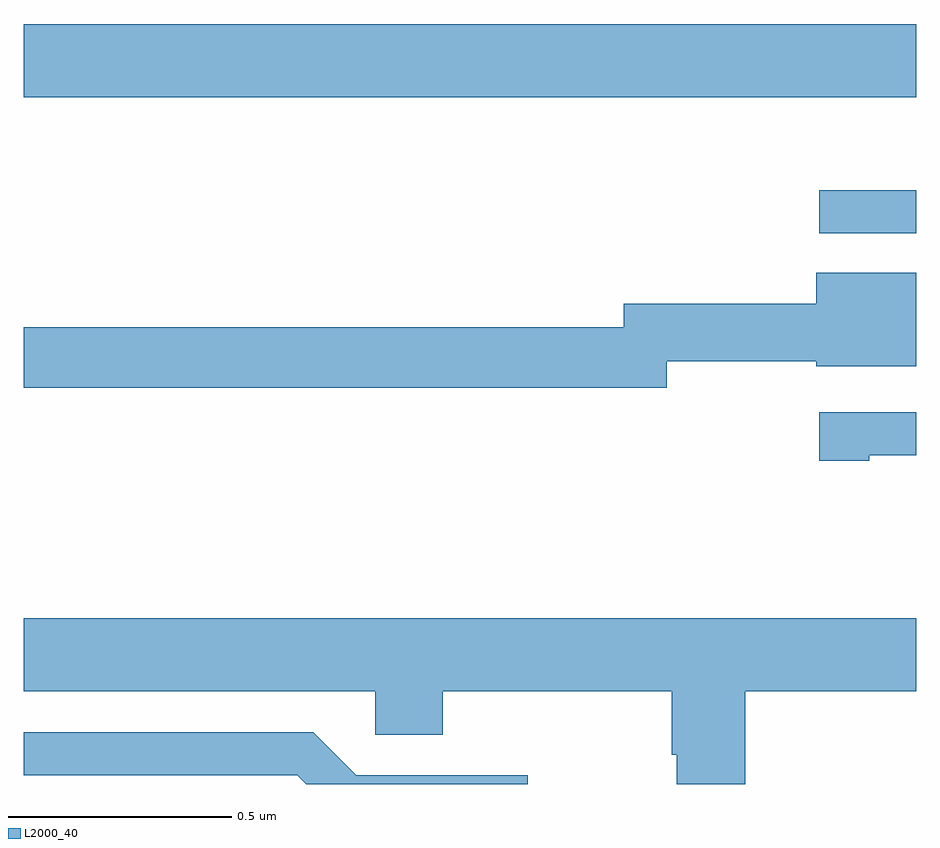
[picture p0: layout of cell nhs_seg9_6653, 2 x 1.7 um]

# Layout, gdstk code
import gdstk
lib = gdstk.Library(unit=1e-6, precision=1e-09)
def R(c, l, rs):  # rectangles x0, y0, x1, y1
    for r in rs: c.add(gdstk.rectangle(r[:2], r[2:], *l))
def P(c, l, *ps):  # polygons
    for p in ps: c.add(gdstk.Polygon(p, *l))
L2000_40 = (2000, 40)

nhs_seg9_6653 = lib.new_cell('nhs_seg9_6653')
R(nhs_seg9_6653, L2000_40, [(195.783,1242.735,196,1242.831), (194,1243.04,196,1243.204)])
P(nhs_seg9_6653, L2000_40, [(195.441,1242.448),(195.776,1242.448),(195.776,1242.437),(196,1242.437),(196,1242.646),(195.776,1242.646),(195.776,1242.577),(195.345,1242.577),(195.345,1242.524),(194,1242.524),(194,1242.388),(195.441,1242.388)],
  [(195.895,1242.237),(196,1242.237),(196,1242.333),(195.783,1242.333),(195.783,1242.225),(195.895,1242.225)],
  [(195.617,1241.708),(196,1241.708),(196,1241.872),(194,1241.872),(194,1241.708),(194.787,1241.708),(194.787,1241.61),(194.939,1241.61),(194.939,1241.708),(195.452,1241.708),(195.452,1241.566),(195.464,1241.566),(195.464,1241.5),(195.617,1241.5)],
  [(195.129,1241.52),(194.745,1241.52),(194.649,1241.616),(194,1241.616),(194,1241.52),(194.613,1241.52),(194.633,1241.5),(195.129,1241.5)])

lib.write_gds('nhs_seg9_6653.gds')
